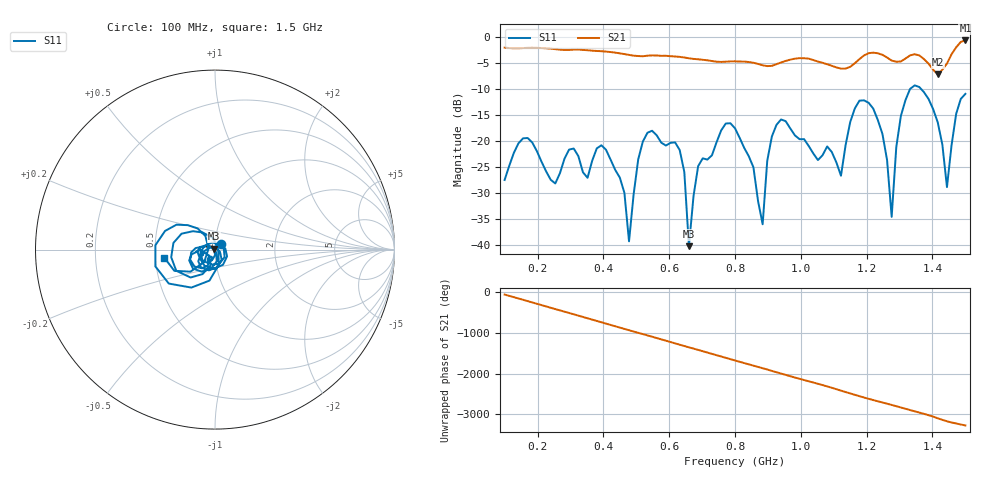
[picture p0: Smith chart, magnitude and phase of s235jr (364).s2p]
! NanoVNA-App
! Date: 2025-09-25 15:07:00
! Start: 100MHz Stop: 1,5GHz Points: 101
! S-Parameter data: F S11 S21 S12 S22
# Hz S RI R 50
!  Frequency  S11_Real  S11_Imag  S21_Real  S21_Imag  S12_Real  S12_Imag  S22_Real  S22_Imag
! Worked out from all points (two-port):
!   101 points, 100 MHz to 1.5 GHz, reference 50 ohm
!   highest |S21| = -0.58 dB at 1.5 GHz (marker M1); lowest = -7.1 dB at 1.416 GHz (marker M2)
!   |S21| within 3 dB of the highest: start of sweep to 505.9 MHz; 525.6 MHz to 598.3 MHz (72.7 MHz wide, 12.9 % of centre) (the widest 2 of 5)
!   lowest |S11| = -40.2 dB at 660 MHz (marker M3), VSWR 1.02, Z = 49.2 + j0.541 ohm
!   |S11| at or under -10 dB: start of sweep to 1.331 GHz; 1.366 GHz to end of sweep
!   S12 and S22 are empty: the file has one direction only
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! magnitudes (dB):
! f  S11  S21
! 100 MHz  -27.5  -2.0
! 156 MHz  -19.4  -2.0
! 338 MHz  -26.0  -2.4
! 408 MHz  -21.6  -2.7
! 478 MHz  -39.3  -3.4
! 520 MHz  -20.1  -3.6
! 576 MHz  -20.3  -3.5
! 632 MHz  -21.7  -3.7
! 660 MHz  -40.2  -4.0
! 688 MHz  -24.8  -4.2
! 800 MHz  -17.5  -4.6
! 884 MHz  -36.0  -5.4
! 926 MHz  -16.8  -5.1
! 1.038 GHz  -22.4  -4.4
! 1.122 GHz  -26.7  -6.0
! 1.206 GHz  -12.6  -3.0
! 1.276 GHz  -34.6  -4.5
! 1.29 GHz  -21.2  -4.7
! 1.332 GHz  -9.9  -3.5
! 1.416 GHz  -16.4  -7.1
! 1.444 GHz  -28.8  -5.0
! 1.5 GHz  -10.9  -0.6
